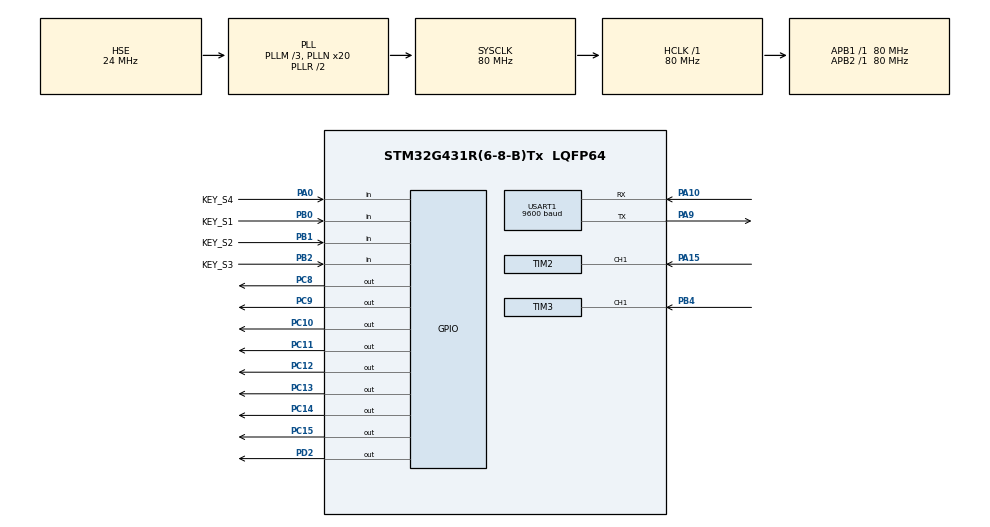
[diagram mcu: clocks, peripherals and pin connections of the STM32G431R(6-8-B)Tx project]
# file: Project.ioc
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Dma.Request0=USART1_TX
Dma.Request1=USART1_RX
Dma.USART1_RX.1.Direction=DMA_PERIPH_TO_MEMORY
Dma.USART1_RX.1.EventEnable=DISABLE
Dma.USART1_RX.1.Instance=DMA1_Channel2
Dma.USART1_RX.1.MemDataAlignment=DMA_MDATAALIGN_BYTE
Dma.USART1_RX.1.MemInc=DMA_MINC_ENABLE
Dma.USART1_RX.1.Mode=DMA_NORMAL
Dma.USART1_RX.1.PeriphDataAlignment=DMA_PDATAALIGN_BYTE
Dma.USART1_RX.1.PeriphInc=DMA_PINC_DISABLE
Dma.USART1_RX.1.Polarity=HAL_DMAMUX_REQ_GEN_RISING
Dma.USART1_RX.1.Priority=DMA_PRIORITY_LOW
Dma.USART1_RX.1.RequestNumber=1
Dma.USART1_RX.1.SignalID=NONE
Dma.USART1_RX.1.SyncEnable=DISABLE
Dma.USART1_RX.1.SyncPolarity=HAL_DMAMUX_SYNC_NO_EVENT
Dma.USART1_RX.1.SyncRequestNumber=1
Dma.USART1_RX.1.SyncSignalID=NONE
Dma.USART1_TX.0.Direction=DMA_MEMORY_TO_PERIPH
Dma.USART1_TX.0.EventEnable=DISABLE
Dma.USART1_TX.0.Instance=DMA1_Channel1
Dma.USART1_TX.0.MemDataAlignment=DMA_MDATAALIGN_BYTE
Dma.USART1_TX.0.MemInc=DMA_MINC_ENABLE
Dma.USART1_TX.0.Mode=DMA_NORMAL
Dma.USART1_TX.0.PeriphDataAlignment=DMA_PDATAALIGN_BYTE
Dma.USART1_TX.0.PeriphInc=DMA_PINC_DISABLE
Dma.USART1_TX.0.Polarity=HAL_DMAMUX_REQ_GEN_RISING
Dma.USART1_TX.0.Priority=DMA_PRIORITY_LOW
Dma.USART1_TX.0.RequestNumber=1
Dma.USART1_TX.0.SignalID=NONE
Dma.USART1_TX.0.SyncEnable=DISABLE
Dma.USART1_TX.0.SyncPolarity=HAL_DMAMUX_SYNC_NO_EVENT
Dma.USART1_TX.0.SyncRequestNumber=1
Dma.USART1_TX.0.SyncSignalID=NONE
Mcu.Family=STM32G4
Mcu.Name=STM32G431R(6-8-B)Tx
Mcu.Package=LQFP64
NVIC.DMA1_Channel1_IRQn=true\:0\:0\:false\:false\:true\:false\:true\:true
NVIC.DMA1_Channel2_IRQn=true\:0\:0\:false\:false\:true\:false\:true\:true
NVIC.PriorityGroup=NVIC_PRIORITYGROUP_4
NVIC.TIM1_TRG_COM_TIM17_IRQn=true\:1\:0\:true\:false\:true\:true\:true\:true
NVIC.USART1_IRQn=true\:0\:0\:false\:false\:true\:true\:true\:true
PA0.GPIO_Label=KEY_S4
PA0.Signal=GPIO_Input
PA10.Mode=Asynchronous
PA10.Signal=USART1_RX
PA13.Mode=Serial_Wire
PA13.Signal=SYS_JTMS-SWDIO
PA14.Mode=Serial_Wire
PA14.Signal=SYS_JTCK-SWCLK
PA15.Signal=S_TIM2_CH1
PA9.Mode=Asynchronous
PA9.Signal=USART1_TX
PB0.GPIO_Label=KEY_S1
PB0.Signal=GPIO_Input
PB1.GPIO_Label=KEY_S2
PB1.Signal=GPIO_Input
PB2.GPIO_Label=KEY_S3
PB2.Signal=GPIO_Input
PB4.Signal=S_TIM3_CH1
PC10.Signal=GPIO_Output
PC11.Signal=GPIO_Output
PC12.Signal=GPIO_Output
PC13.Signal=GPIO_Output
PC14-OSC32_IN.Signal=GPIO_Output
PC15-OSC32_OUT.Signal=GPIO_Output
PC8.Signal=GPIO_Output
PC9.Signal=GPIO_Output
PD2.Signal=GPIO_Output
PF0-OSC_IN.Mode=HSE-External-Oscillator
PF0-OSC_IN.Signal=RCC_OSC_IN
PF1-OSC_OUT.Mode=HSE-External-Oscillator
PF1-OSC_OUT.Signal=RCC_OSC_OUT
ProjectManager.HeapSize=0x0
ProjectManager.StackSize=0x1000
ProjectManager.TargetToolchain=MDK-ARM V5.32
RCC.ADC12Freq_Value=80000000
RCC.AHBFreq_Value=80000000
RCC.APB1Freq_Value=80000000
RCC.APB1TimFreq_Value=80000000
RCC.APB2Freq_Value=80000000
RCC.APB2TimFreq_Value=80000000
RCC.CortexFreq_Value=80000000
RCC.EXTERNAL_CLOCK_VALUE=12288000
RCC.HCLKFreq_Value=80000000
RCC.HSE_VALUE=24000000
RCC.HSI48_VALUE=48000000
RCC.HSI_VALUE=16000000
RCC.LSE_VALUE=32768
RCC.PLLM=RCC_PLLM_DIV3
RCC.PLLN=20
RCC.PLLSourceVirtual=RCC_PLLSOURCE_HSE
RCC.SYSCLKFreq_VALUE=80000000
RCC.SYSCLKSource=RCC_SYSCLKSOURCE_PLLCLK
RCC.USBFreq_Value=80000000
RCC.VCOOutputFreq_Value=160000000
SH.S_TIM2_CH1.0=TIM2_CH1,PWM_Input_1
SH.S_TIM3_CH1.0=TIM3_CH1,PWM_Input_1
TIM17.PeriodNoDither=9999
TIM17.Prescaler=79
TIM2.ICPolarity_1=TIM_INPUTCHANNELPOLARITY_RISING
TIM2.Prescaler=79
TIM3.Prescaler=79
USART1.BaudRate=9600
USART1.VirtualMode-Asynchronous=VM_ASYNC
VP_SYS_VS_DBSignals.Mode=DisableDeadBatterySignals
VP_TIM17_VS_ClockSourceINT.Mode=Enable_Timer
board=custom

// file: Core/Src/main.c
/* USER CODE BEGIN Header */
/**
  ******************************************************************************
  * @file           : main.c
  * @brief          : Main program body
  ******************************************************************************
  * @attention
  *
  * Copyright (c) 2025 STMicroelectronics.
  * All rights reserved.
  *
  * This software is licensed under terms that can be found in the LICENSE file
  * in the root directory of this software component.
  * If no LICENSE file comes with this software, it is provided AS-IS.
  *
  ******************************************************************************
  */
/* USER CODE END Header */
#include "main.h"
#include "dma.h"
#include "tim.h"
#include "usart.h"
#include "gpio.h"

/* USER CODE BEGIN Includes */
#include "lcd.h"

/* USER CODE END Includes */

/* USER CODE BEGIN PV */
uint8_t ledState = 0x31;
uint16_t freq[3] = { 1000 };

myUART_HandleTypeDef myUART = { .huart = &huart1 };

/* USER CODE END PV */

void SystemClock_Config(void);
/* USER CODE BEGIN PFP */
float LinearMap(float x, float xmin, float xmax, float ymin, float ymax);
void LCD_ShowString(uint8_t Line, const char *format, ...);
void Key_Process(uint8_t keyNum);
void UART_Process(char *str);

/* USER CODE END PFP */

/* USER CODE BEGIN 0 */
void HAL_UARTEx_RxEventCallback(UART_HandleTypeDef *huart, uint16_t Size)
{
	if (huart == myUART.huart && huart->RxEventType != HAL_UART_RXEVENT_HT)
	{
		UART_Process(myUART.RxMsg);
		myUART_Start_Receive_DMA(&myUART);
	}
}

void HAL_TIM_PeriodElapsedCallback(TIM_HandleTypeDef *htim)
{
	if (htim == &htim17)
	{
		Key_Process(Key_Read());
	}
}

/* USER CODE END 0 */

int main(void)
{

  /* MCU Configuration--------------------------------------------------------*/

  /* Reset of all peripherals, Initializes the Flash interface and the Systick. */
  HAL_Init();

  /* Configure the system clock */
  SystemClock_Config();

  /* Initialize all configured peripherals */
  MX_GPIO_Init();
  MX_DMA_Init();
  MX_USART1_UART_Init();
  MX_TIM17_Init();
  MX_TIM3_Init();
  MX_TIM2_Init();
  /* USER CODE BEGIN 2 */
  LED_WR(ledState & 0xCF);
  LCD_Init();
  LCD_Clear(Black);
  LCD_SetBackColor(Black);
  LCD_SetTextColor(White);

  myUART_Transmit_DMA(&myUART, "G431RBT6 UART1 Connected.\r\n");
  myUART_Transmit_DMA(&myUART, "Continuous sending test.\r\n");
  myUART_Start_Receive_DMA(&myUART);

  HAL_TIM_IC_Start(&htim2, TIM_CHANNEL_1);
  HAL_TIM_IC_Start(&htim3, TIM_CHANNEL_1);
  HAL_TIM_Base_Start_IT(&htim17);

  /* USER CODE END 2 */

  /* Infinite loop */
  while (1)
  {

  }
}

void SystemClock_Config(void)
{
  RCC_OscInitTypeDef RCC_OscInitStruct = {0};
  RCC_ClkInitTypeDef RCC_ClkInitStruct = {0};

  /** Configure the main internal regulator output voltage
  */
  HAL_PWREx_ControlVoltageScaling(PWR_REGULATOR_VOLTAGE_SCALE1);

  /** Initializes the RCC Oscillators according to the specified parameters
  * in the RCC_OscInitTypeDef structure.
  */
  RCC_OscInitStruct.OscillatorType = RCC_OSCILLATORTYPE_HSE;
  RCC_OscInitStruct.HSEState = RCC_HSE_ON;
  RCC_OscInitStruct.PLL.PLLState = RCC_PLL_ON;
  RCC_OscInitStruct.PLL.PLLSource = RCC_PLLSOURCE_HSE;
  RCC_OscInitStruct.PLL.PLLM = RCC_PLLM_DIV3;
  RCC_OscInitStruct.PLL.PLLN = 20;
  RCC_OscInitStruct.PLL.PLLP = RCC_PLLP_DIV2;
  RCC_OscInitStruct.PLL.PLLQ = RCC_PLLQ_DIV2;
  RCC_OscInitStruct.PLL.PLLR = RCC_PLLR_DIV2;
  if (HAL_RCC_OscConfig(&RCC_OscInitStruct) != HAL_OK)
  {
    Error_Handler();
  }

  /** Initializes the CPU, AHB and APB buses clocks
  */
  RCC_ClkInitStruct.ClockType = RCC_CLOCKTYPE_HCLK|RCC_CLOCKTYPE_SYSCLK
                              |RCC_CLOCKTYPE_PCLK1|RCC_CLOCKTYPE_PCLK2;
  RCC_ClkInitStruct.SYSCLKSource = RCC_SYSCLKSOURCE_PLLCLK;
  RCC_ClkInitStruct.AHBCLKDivider = RCC_SYSCLK_DIV1;
  RCC_ClkInitStruct.APB1CLKDivider = RCC_HCLK_DIV1;
  RCC_ClkInitStruct.APB2CLKDivider = RCC_HCLK_DIV1;

  if (HAL_RCC_ClockConfig(&RCC_ClkInitStruct, FLASH_LATENCY_2) != HAL_OK)
  {
    Error_Handler();
  }
}

/* USER CODE BEGIN 4 */
void LCD_ShowString(uint8_t Line, const char *format, ...)
{
	char str[21];
	va_list ap;
	va_start(ap, format);
	int xnum = vsnprintf(str, 21, format, ap);
	va_end(ap);
	while (xnum < 20) str[xnum++] = 32;
	LCD_DisplayStringLine(Line, (uint8_t *)str);
}

void Key_Process(uint8_t keyNum)
{
	if (keyNum == 0x01) ledState ^= 0x03;
	else if (keyNum == 0x02) ledState ^= 0x80;
	else if (ledState & 0x02)
	{
		if (keyNum == 0x03) freq[0] = freq[0] == 10000 ? 1000 : freq[0] + 1000;
		if (keyNum == 0x04) freq[0] = freq[0] == 1000 ? 10000 : freq[0] - 1000;
	}
	else if (!(ledState & 0x80))
	{
		if (keyNum == 0x03) ledState ^= 0x10;
		if (keyNum == 0x04) ledState ^= 0x20;
	}

	static uint8_t timeCnt = 0;
	if (++timeCnt < 10) return;
	timeCnt = 0;

	if (ledState & 0x10) freq[1] = 1000000.0 / (TIM3->CCR1 + 1);
	if (ledState & 0x20) freq[2] = 1000000.0 / (TIM2->CCR1 + 1);
	if (freq[1] < freq[0] && freq[2] < freq[0]) ledState ^= 0x04;
	else ledState &= 0xFB;

	LED_WR(ledState & 0xCF);
	if (ledState & 0x01)
	{
		LCD_ShowString(Line1, "        DATA        ");
		LCD_ShowString(Line3, "     F1=%dHZ", freq[1]);
		LCD_ShowString(Line4, "     F2=%dHZ", freq[2]);
		LCD_ShowString(Line5, "     MODE=%s", ledState & 0x80 ? "USART" : "KEY");
	}
	else
	{
		LCD_ShowString(Line1, "        PARA        ");
		LCD_ShowString(Line3, "      PF=%dHZ", freq[0]);
		LCD_ShowString(Line4, "");
		LCD_ShowString(Line5, "");
	}
}

void UART_Process(char *str)
{
	if (!(ledState & 0x80)) myUART_Transmit_DMA(&myUART, "NULL");
	else if (!strcmp(str, "TF1")) ledState |= 0x10;
	else if (!strcmp(str, "TF2")) ledState |= 0x20;
	else if (!strcmp(str, "PF1")) ledState &= 0xEF;
	else if (!strcmp(str, "PF2")) ledState &= 0xDF;
	else if (!strcmp(str, "F1")) myUART_Transmit_DMA(&myUART, "F1:%dHZ", freq[1]);
	else if (!strcmp(str, "F2")) myUART_Transmit_DMA(&myUART, "F2:%dHZ", freq[2]);
	else myUART_Transmit_DMA(&myUART, "NULL");
}

float LinearMap(float x, float xmin, float xmax, float ymin, float ymax)
{
	if (x <= xmin) return ymin;
	if (x >= xmax) return ymax;
	return ymin + (x - xmin) * (ymax - ymin) / (xmax - xmin);
}

/* USER CODE END 4 */

void Error_Handler(void)
{
  __disable_irq();
  while (1)
  {
  }
}
